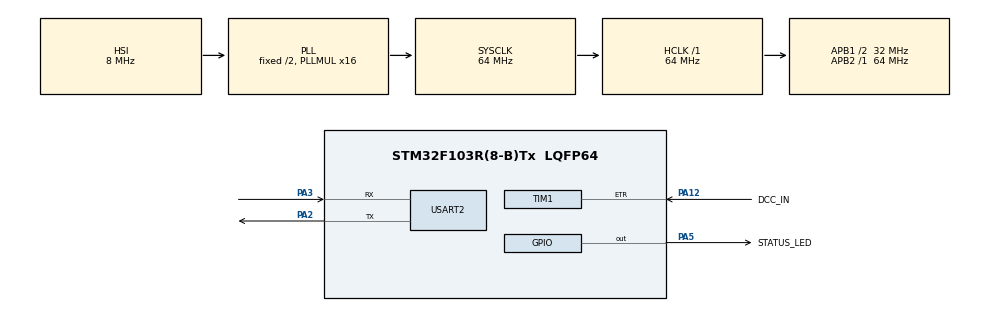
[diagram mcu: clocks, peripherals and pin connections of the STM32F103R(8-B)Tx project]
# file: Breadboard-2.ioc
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Mcu.Family=STM32F1
Mcu.Name=STM32F103R(8-B)Tx
Mcu.Package=LQFP64
NVIC.PriorityGroup=NVIC_PRIORITYGROUP_4
NVIC.TIM1_UP_IRQn=true\:0\:0\:false\:false\:true\:true\:true\:true
PA12.GPIO_Label=DCC_IN
PA12.GPIO_PuPd=GPIO_PULLUP
PA12.Signal=S_TIM1_ETR
PA13.Mode=Serial_Wire
PA13.Signal=SYS_JTMS-SWDIO
PA14.Mode=Serial_Wire
PA14.Signal=SYS_JTCK-SWCLK
PA2.Mode=Asynchronous
PA2.Signal=USART2_TX
PA3.Mode=Asynchronous
PA3.Signal=USART2_RX
PA5.GPIO_Label=STATUS_LED
PA5.GPIO_Speed=GPIO_SPEED_FREQ_LOW
PA5.PinState=GPIO_PIN_RESET
PA5.Signal=GPIO_Output
ProjectManager.HeapSize=0x200
ProjectManager.StackSize=0x400
ProjectManager.TargetToolchain=STM32CubeIDE
RCC.AHBFreq_Value=64000000
RCC.APB1CLKDivider=RCC_HCLK_DIV2
RCC.APB1Freq_Value=32000000
RCC.APB1TimFreq_Value=64000000
RCC.APB2Freq_Value=64000000
RCC.APB2TimFreq_Value=64000000
RCC.HCLKFreq_Value=64000000
RCC.PLLMUL=RCC_PLL_MUL16
RCC.SYSCLKFreq_VALUE=64000000
RCC.SYSCLKSource=RCC_SYSCLKSOURCE_PLLCLK
RCC.USBFreq_Value=64000000
SH.S_TIM1_ETR.0=TIM1_ETR,TriggerSource_ETR
TIM1.AutoReloadPreload=TIM_AUTORELOAD_PRELOAD_ENABLE
TIM1.Period=70
TIM1.Prescaler=63
TIM1.TIM_MasterOutputTrigger=TIM_TRGO_ENABLE
TIM2.AutoReloadPreload=TIM_AUTORELOAD_PRELOAD_ENABLE
TIM2.CounterMode=TIM_COUNTERMODE_UP
TIM2.Period=65535
TIM2.Prescaler=63999
TIM2.TIM_MasterOutputTrigger=TIM_TRGO_UPDATE
USART2.VirtualMode=VM_ASYNC
VP_TIM1_VS_ClockSourceINT.Mode=Internal
VP_TIM1_VS_ControllerModeTrigger.Mode=Trigger Mode
VP_TIM1_VS_OPM.Mode=OPM_bit
VP_TIM2_VS_ClockSourceINT.Mode=Internal
VP_TIM2_VS_OPM.Mode=OPM_bit
board=custom

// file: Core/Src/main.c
/* USER CODE BEGIN Header */
/**
  ******************************************************************************
  * @file           : main.c
  * @brief          : Main program body
  ******************************************************************************
  * @attention
  *
  * Copyright (c) 2024 STMicroelectronics.
  * All rights reserved.
  *
  * This software is licensed under terms that can be found in the LICENSE file
  * in the root directory of this software component.
  * If no LICENSE file comes with this software, it is provided AS-IS.
  *
  ******************************************************************************
  */
/* USER CODE END Header */
#include "main.h"

/* USER CODE BEGIN Includes */
#include <stdio.h>
#include "dcc.h"
#include "cv.h"
/* USER CODE END Includes */

TIM_HandleTypeDef htim1;
TIM_HandleTypeDef htim2;

UART_HandleTypeDef huart2;

/* USER CODE BEGIN PV */
uint32_t counter;

/* USER CODE END PV */

void SystemClock_Config(void);
static void MX_GPIO_Init(void);
static void MX_TIM1_Init(void);
static void MX_USART2_UART_Init(void);
static void MX_TIM2_Init(void);
/* USER CODE BEGIN PFP */
#define PUTCHAR_PROTOTYPE int __io_putchar(int ch)
/* USER CODE END PFP */

int main(void)
{

  /* MCU Configuration--------------------------------------------------------*/

  /* Reset of all peripherals, Initializes the Flash interface and the Systick. */
  HAL_Init();

  /* Configure the system clock */
  SystemClock_Config();

  /* Initialize all configured peripherals */
  MX_GPIO_Init();
  MX_TIM1_Init();
  MX_USART2_UART_Init();
  MX_TIM2_Init();
  /* USER CODE BEGIN 2 */

#if DEBUG_STATUS
    printf("\r\nCompiled on %s at %s using version %s with flags 0x%04X.\r\n",
           __DATE__, __TIME__, __VERSION__, __OPTIMIZE__);
#endif

  // Make sure the EEPROM data has been configured.
  cv_check();

  // Initialize the DCC subsystem based on the CV's configured.
  dcc_initialize();

  // Start timers.
  HAL_TIM_Base_Start_IT(&htim1);
  HAL_TIM_Base_Start(&htim2);

  /* USER CODE END 2 */

  /* Infinite loop */
	while (1) {

    /* USER CODE BEGIN 3 */

		__HAL_TIM_SET_COUNTER(&htim2, 0);

        // Loop until TMR2 goes off.
        while(__HAL_TIM_GET_COUNTER(&htim2) < 25) {
            // Did a DCC packet come in?
            if (dcc_ready) {
                dcc_decode();
                // Tell the ISR we've consumed the message and it can store another.
                dcc_ready = 0;
            } else {
                // Is there anything to do during idle time?
                dcc_idle();
            }
        }
        // Control reaches here when TMR0 has gone off.
        // Perform periodic functions every 25ms.
        dcc_periodic();
        //function_periodic(); // Perform animations for functions.
	}
  /* USER CODE END 3 */
}

void SystemClock_Config(void)
{
  RCC_OscInitTypeDef RCC_OscInitStruct = {0};
  RCC_ClkInitTypeDef RCC_ClkInitStruct = {0};

  /** Initializes the RCC Oscillators according to the specified parameters
  * in the RCC_OscInitTypeDef structure.
  */
  RCC_OscInitStruct.OscillatorType = RCC_OSCILLATORTYPE_HSI;
  RCC_OscInitStruct.HSIState = RCC_HSI_ON;
  RCC_OscInitStruct.HSICalibrationValue = RCC_HSICALIBRATION_DEFAULT;
  RCC_OscInitStruct.PLL.PLLState = RCC_PLL_ON;
  RCC_OscInitStruct.PLL.PLLSource = RCC_PLLSOURCE_HSI_DIV2;
  RCC_OscInitStruct.PLL.PLLMUL = RCC_PLL_MUL16;
  if (HAL_RCC_OscConfig(&RCC_OscInitStruct) != HAL_OK)
  {
    Error_Handler();
  }

  /** Initializes the CPU, AHB and APB buses clocks
  */
  RCC_ClkInitStruct.ClockType = RCC_CLOCKTYPE_HCLK|RCC_CLOCKTYPE_SYSCLK
                              |RCC_CLOCKTYPE_PCLK1|RCC_CLOCKTYPE_PCLK2;
  RCC_ClkInitStruct.SYSCLKSource = RCC_SYSCLKSOURCE_PLLCLK;
  RCC_ClkInitStruct.AHBCLKDivider = RCC_SYSCLK_DIV1;
  RCC_ClkInitStruct.APB1CLKDivider = RCC_HCLK_DIV2;
  RCC_ClkInitStruct.APB2CLKDivider = RCC_HCLK_DIV1;

  if (HAL_RCC_ClockConfig(&RCC_ClkInitStruct, FLASH_LATENCY_2) != HAL_OK)
  {
    Error_Handler();
  }
}

static void MX_TIM1_Init(void)
{

  TIM_ClockConfigTypeDef sClockSourceConfig = {0};
  TIM_SlaveConfigTypeDef sSlaveConfig = {0};
  TIM_MasterConfigTypeDef sMasterConfig = {0};

  htim1.Instance = TIM1;
  htim1.Init.Prescaler = 63;
  htim1.Init.CounterMode = TIM_COUNTERMODE_UP;
  htim1.Init.Period = 70;
  htim1.Init.ClockDivision = TIM_CLOCKDIVISION_DIV1;
  htim1.Init.RepetitionCounter = 0;
  htim1.Init.AutoReloadPreload = TIM_AUTORELOAD_PRELOAD_ENABLE;
  if (HAL_TIM_Base_Init(&htim1) != HAL_OK)
  {
    Error_Handler();
  }
  sClockSourceConfig.ClockSource = TIM_CLOCKSOURCE_INTERNAL;
  if (HAL_TIM_ConfigClockSource(&htim1, &sClockSourceConfig) != HAL_OK)
  {
    Error_Handler();
  }
  if (HAL_TIM_OnePulse_Init(&htim1, TIM_OPMODE_SINGLE) != HAL_OK)
  {
    Error_Handler();
  }
  sSlaveConfig.SlaveMode = TIM_SLAVEMODE_TRIGGER;
  sSlaveConfig.InputTrigger = TIM_TS_ETRF;
  sSlaveConfig.TriggerPolarity = TIM_TRIGGERPOLARITY_NONINVERTED;
  sSlaveConfig.TriggerPrescaler = TIM_TRIGGERPRESCALER_DIV1;
  sSlaveConfig.TriggerFilter = 0;
  if (HAL_TIM_SlaveConfigSynchro(&htim1, &sSlaveConfig) != HAL_OK)
  {
    Error_Handler();
  }
  sMasterConfig.MasterOutputTrigger = TIM_TRGO_ENABLE;
  sMasterConfig.MasterSlaveMode = TIM_MASTERSLAVEMODE_DISABLE;
  if (HAL_TIMEx_MasterConfigSynchronization(&htim1, &sMasterConfig) != HAL_OK)
  {
    Error_Handler();
  }

}

static void MX_TIM2_Init(void)
{

  TIM_ClockConfigTypeDef sClockSourceConfig = {0};
  TIM_MasterConfigTypeDef sMasterConfig = {0};

  htim2.Instance = TIM2;
  htim2.Init.Prescaler = 63999;
  htim2.Init.CounterMode = TIM_COUNTERMODE_UP;
  htim2.Init.Period = 65535;
  htim2.Init.ClockDivision = TIM_CLOCKDIVISION_DIV1;
  htim2.Init.AutoReloadPreload = TIM_AUTORELOAD_PRELOAD_ENABLE;
  if (HAL_TIM_Base_Init(&htim2) != HAL_OK)
  {
    Error_Handler();
  }
  sClockSourceConfig.ClockSource = TIM_CLOCKSOURCE_INTERNAL;
  if (HAL_TIM_ConfigClockSource(&htim2, &sClockSourceConfig) != HAL_OK)
  {
    Error_Handler();
  }
  if (HAL_TIM_OnePulse_Init(&htim2, TIM_OPMODE_SINGLE) != HAL_OK)
  {
    Error_Handler();
  }
  sMasterConfig.MasterOutputTrigger = TIM_TRGO_UPDATE;
  sMasterConfig.MasterSlaveMode = TIM_MASTERSLAVEMODE_DISABLE;
  if (HAL_TIMEx_MasterConfigSynchronization(&htim2, &sMasterConfig) != HAL_OK)
  {
    Error_Handler();
  }

}

static void MX_USART2_UART_Init(void)
{

  huart2.Instance = USART2;
  huart2.Init.BaudRate = 115200;
  huart2.Init.WordLength = UART_WORDLENGTH_8B;
  huart2.Init.StopBits = UART_STOPBITS_1;
  huart2.Init.Parity = UART_PARITY_NONE;
  huart2.Init.Mode = UART_MODE_TX_RX;
  huart2.Init.HwFlowCtl = UART_HWCONTROL_NONE;
  huart2.Init.OverSampling = UART_OVERSAMPLING_16;
  if (HAL_UART_Init(&huart2) != HAL_OK)
  {
    Error_Handler();
  }

}

static void MX_GPIO_Init(void)
{
  GPIO_InitTypeDef GPIO_InitStruct = {0};

  /* GPIO Ports Clock Enable */
  __HAL_RCC_GPIOA_CLK_ENABLE();

  /*Configure GPIO pin Output Level */
  HAL_GPIO_WritePin(STATUS_LED_GPIO_Port, STATUS_LED_Pin, GPIO_PIN_RESET);

  /*Configure GPIO pin : STATUS_LED_Pin */
  GPIO_InitStruct.Pin = STATUS_LED_Pin;
  GPIO_InitStruct.Mode = GPIO_MODE_OUTPUT_PP;
  GPIO_InitStruct.Pull = GPIO_NOPULL;
  GPIO_InitStruct.Speed = GPIO_SPEED_FREQ_LOW;
  HAL_GPIO_Init(STATUS_LED_GPIO_Port, &GPIO_InitStruct);

}

/* USER CODE BEGIN 4 */

/**
  * @brief  Timer Callback Handler
  * @param  htim: Timer that has been triggered.
  * @retval None
  */
void HAL_TIM_PeriodElapsedCallback(TIM_HandleTypeDef *htim)
{
  /* Timer 1 is our DCC input timer. */
  if (htim == &htim1 )
  {
	DCC_ISR();
  }
}

/**
  * @brief  Retargets the C library printf function to the USART.
  * @param  None
  * @retval None
  */
PUTCHAR_PROTOTYPE
{
  /* Place your implementation of fputc here */
  /* e.g. write a character to the USART1 and Loop until the end of transmission */
  HAL_UART_Transmit(&huart2, (uint8_t *)&ch, 1, 0xFFFF);

  return ch;
}

/* USER CODE END 4 */

void Error_Handler(void)
{
  __disable_irq();
  while (1)
  {
  }
}
